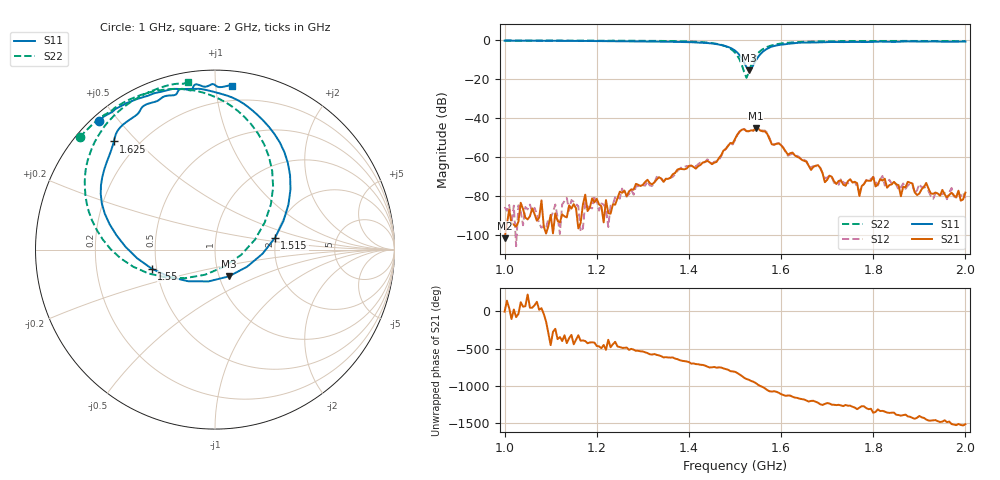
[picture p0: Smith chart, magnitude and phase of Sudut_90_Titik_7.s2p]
# Hz S RI R 50
! CMT, C1220, 16058040, 17.2.0/1
! Date: 14/08/2018 12:13:04
! Data: Format (Calibration Info)
! Freq  S11: Re/Im (F2)  S21: Re/Im (F2)  S12: Re/Im (F2)  S22: Re/Im (F2)
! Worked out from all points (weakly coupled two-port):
!   201 points, 1 GHz to 2 GHz, reference 50 ohm
!   highest |S21| = -45.12 dB at 1.545 GHz (marker M1); lowest = -101.6 dB at 1 GHz (marker M2)
!   lowest |S11| = -15.5 dB at 1.53 GHz (marker M3), VSWR 1.40, Z = 55.5 - j17.1 ohm
!   |S11| at or under -10 dB: 1.516 GHz to 1.546 GHz (29.96 MHz wide, 1.96 % of centre)
!   |S22| runs from -19.3 to -0.2 dB; largest |S21 - S12| = 0.0003
!   S11 on the Smith chart (normalised r, x): 1 GHz: 0.02, +0.44; 1.515 GHz: 1.97, +0.29; 1.55 GHz: 0.47, -0.12; 1.625 GHz: 0.11, +0.43; 2 GHz: 0.10, +1.11
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1e9  -0.6466 0.7146  8.3e-06 -4.06e-07  1.03e-06 5.24e-05  -0.7535 0.6251
1.17e9  -0.4768 0.8223  5.26e-05 -3.13e-05  9.29e-06 -1.17e-05  -0.6165 0.7507
1.265e9  -0.3382 0.8712  -6.01e-05 -7.9e-05  -7.8e-05 -5.73e-05  -0.5155 0.8162
1.335e9  -0.218 0.8951  -0.000182 0.000244  -0.000113 0.000248  -0.4004 0.8655
1.46e9  0.2336 0.7533  0.000593 -0.000466  0.000576 -0.000532  0.093 0.7987
1.5e9  0.4206 0.3368  -0.000204 -0.00289  -0.000228 -0.00269  0.324 0.3487
1.515e9  0.3337 0.0651  -0.0044 -0.00247  -0.00437 -0.00262  0.2229 0.0558
1.53e9  0.0765 -0.1494  -0.00428 0.00165  -0.00434 0.0017  -0.055 -0.1399
1.545e9  -0.2561 -0.1513  -0.00232 0.00503  -0.00239 0.00491  -0.3703 -0.1331
1.55e9  -0.3523 -0.1066  -0.000119 0.00542  -0.000361 0.00541  -0.4553 -0.0956
1.625e9  -0.5636 0.6026  0.000423 -0.00123  0.000446 -0.00114  -0.702 0.5201
1.67e9  -0.4432 0.7457  -0.000319 -0.000457  -0.000345 -0.00048  -0.6259 0.6723
1.695e9  -0.408 0.7912  -0.000222 -5e-05  -0.000289 -2.68e-05  -0.5847 0.7234
1.765e9  -0.2573 0.8586  -0.000115 0.000182  -0.000128 0.000112  -0.4758 0.8179
1.77e9  -0.2447 0.8592  -7.96e-05 6.2e-05  -8.02e-05 0.000103  -0.4682 0.8229
1.8e9  -0.2057 0.8834  8.88e-05 0.000296  -0.000151 0.000274  -0.4241 0.8494
1.835e9  -0.1422 0.8875  6.07e-05 0.000181  -1.51e-06 0.000262  -0.3764 0.8739
1.86e9  -0.1198 0.9096  8.15e-05 5.62e-05  0.000133 0.000102  -0.3418 0.8883
1.875e9  -0.1037 0.9209  0.000211 9.63e-05  0.000152 0.000106  -0.3203 0.8965
1.895e9  -0.0648 0.9085  0.000106 1.13e-05  0.000141 4.97e-06  -0.2916 0.9063
1.915e9  -0.0284 0.9163  0.000208 -6.43e-05  0.00013 -8.38e-05  -0.265 0.9143
2e9  0.0967 0.9119  1.78e-05 -0.000121  -1.07e-05 -8.95e-05  -0.1524 0.933
